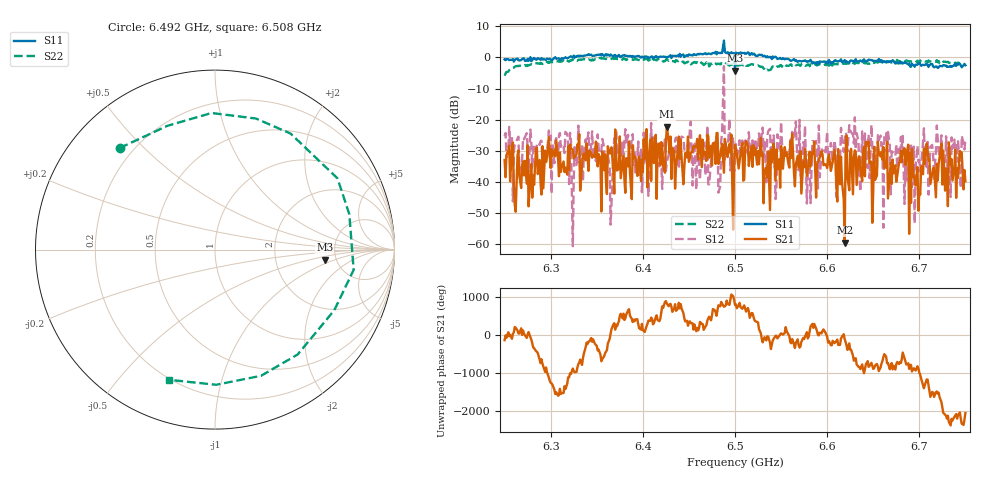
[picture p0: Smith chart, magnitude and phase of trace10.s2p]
# Hz S RI R 50
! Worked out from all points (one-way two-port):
!   401 points, 6.25 GHz to 6.75 GHz, reference 50 ohm
!   highest |S21| = -22.25 dB at 6.426 GHz (marker M1); lowest = -59.6 dB at 6.619 GHz (marker M2)
!   lowest |S11| = -4.2 dB at 6.5 GHz (marker M3), VSWR 4.18, Z = 202 - j36.4 ohm
!   |S11| at or under -10 dB: nowhere
!   |S22| runs from -5.9 to -0.1 dB; largest |S21 - S12| = 0.74
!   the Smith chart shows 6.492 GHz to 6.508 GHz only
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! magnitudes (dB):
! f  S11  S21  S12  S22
! 6.25 GHz  -0.6  -33.0  -25.3  -5.9
! 6.334 GHz  0.5  -34.9  -27.9  -0.7
! 6.354 GHz  1.0  -32.7  -35.0  -0.1
! 6.364 GHz  0.5  -30.9  -35.1  -0.7
! 6.382 GHz  0.5  -32.4  -27.8  -0.8
! 6.418 GHz  0.1  -27.6  -35.0  -0.9
! 6.426 GHz  0.0  -22.2  -33.7  -0.5
! 6.45 GHz  1.0  -33.5  -29.2  -1.8
! 6.474 GHz  1.0  -28.4  -33.4  -2.0
! 6.488 GHz  5.5  -37.1  -2.8  -2.1
! 6.5 GHz  -4.2  -28.1  -30.5  -2.2
! 6.546 GHz  -0.5  -35.9  -24.7  -2.9
! 6.564 GHz  -0.5  -37.1  -26.3  -2.7
! 6.58 GHz  -1.2  -34.4  -31.0  -2.3
! 6.584 GHz  -2.0  -30.4  -26.9  -2.5
! 6.611 GHz  -1.3  -46.3  -39.5  -2.1
! 6.619 GHz  -0.8  -59.6  -27.1  -1.9
! 6.642 GHz  -1.2  -27.1  -32.8  -1.7
! 6.651 GHz  -1.1  -28.8  -36.6  -1.8
! 6.658 GHz  -1.2  -31.9  -25.1  -1.4
! 6.668 GHz  -1.3  -37.7  -28.3  -1.4
! 6.75 GHz  -2.5  -39.8  -26.5  -2.4
